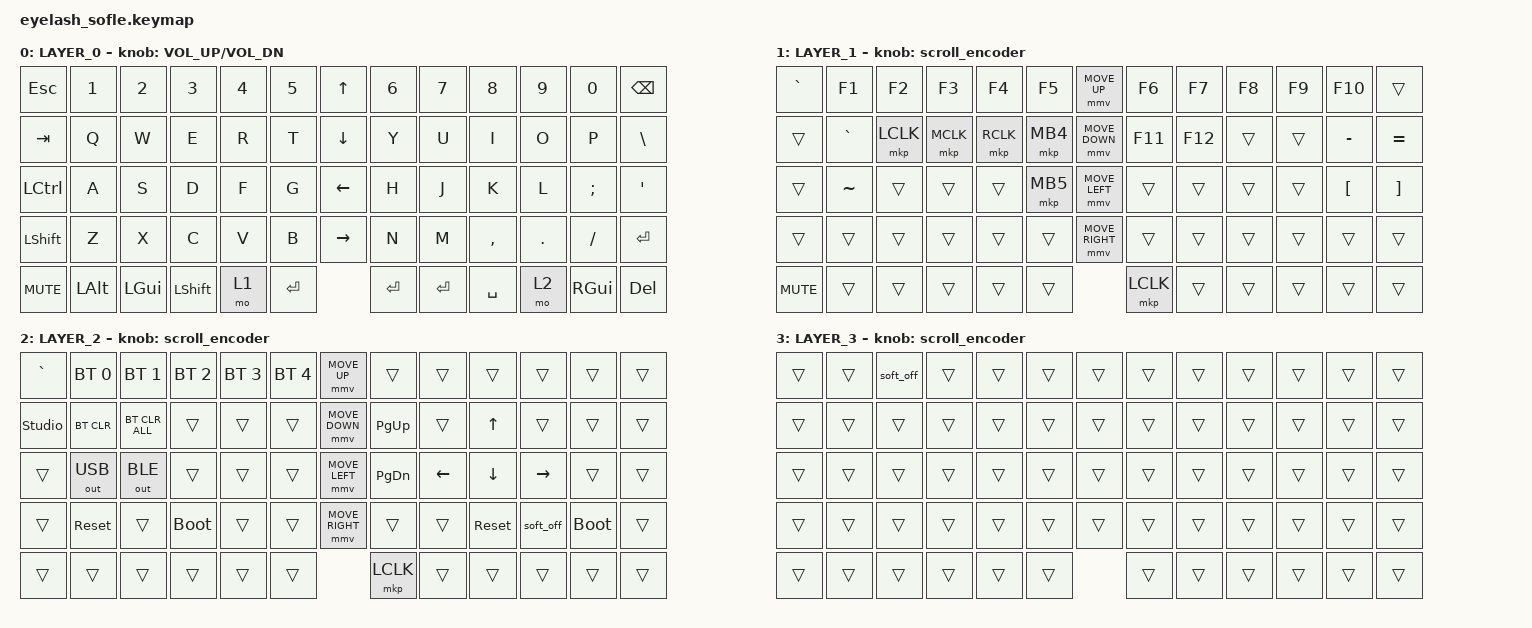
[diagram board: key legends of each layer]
#define ZMK_POINTING_DEFAULT_MOVE_VAL 1200  // 600
#define ZMK_POINTING_DEFAULT_SCRL_VAL 35    // 10

#include <input/processors.dtsi>
#include <zephyr/dt-bindings/input/input-event-codes.h>
#include <behaviors.dtsi>
#include <dt-bindings/zmk/bt.h>
#include <dt-bindings/zmk/keys.h>
#include <dt-bindings/zmk/outputs.h>
#include <dt-bindings/zmk/pointing.h>
#include <dt-bindings/zmk/rgb.h>

/ {
    zip_scroll_scaler: zip_scroll_scaler {
        compatible = "zmk,input-processor-scaler";
        #input-processor-cells = <2>;
        type = <INPUT_EV_REL>;
        codes = <INPUT_REL_WHEEL INPUT_REL_HWHEEL>;
        track-remainders;
    };
};

&mmv_input_listener { input-processors = <&zip_xy_scaler 2 1>; };

&msc_input_listener { input-processors = <&zip_scroll_scaler 2 1>; };

&msc {
    acceleration-exponent = <0>;      // 0
    time-to-max-speed-ms = <0>;       // 300
    delay-ms = <0>;                   // 0
};

&mmv {
    time-to-max-speed-ms = <400>;
    acceleration-exponent = <1>;
};

/ {
    scroll_encoder: scroll_encoder {
        compatible = "zmk,behavior-sensor-rotate";
        #sensor-binding-cells = <0>;
        bindings = <&msc SCRL_DOWN>, <&msc SCRL_UP>;

        tap-ms = <100>;
    };

    macros {
        shift_MB3: shift_MB3 {
            compatible = "zmk,behavior-macro";
            #binding-cells = <0>;
            bindings =
                <&macro_press>,
                <&kp LEFT_SHIFT>,
                <&macro_press>,
                <&mkp MB3>,
                <&macro_pause_for_release>,
                <&macro_release>,
                <&mkp MB3 &kp LEFT_SHIFT>;

            label = "SHIFT_MB3";
        };
    };

    behaviors {
    };

    keymap {
        compatible = "zmk,keymap";

        layer0 {
            bindings = <
&kp ESC     &kp N1     &kp N2        &kp N3        &kp N4  &kp N5       &kp UP_ARROW     &kp N6     &kp N7     &kp N8     &kp N9           &kp N0      &kp BACKSPACE
&kp TAB     &kp Q      &kp W         &kp E         &kp R   &kp T        &kp DOWN_ARROW   &kp Y      &kp U      &kp I      &kp O            &kp P       &kp BSLH
&kp LCTRL    &kp A      &kp S         &kp D         &kp F   &kp G        &kp LEFT_ARROW   &kp H      &kp J      &kp K      &kp L            &kp SEMI    &kp APOS
&kp LSHFT   &kp Z      &kp X         &kp C         &kp V   &kp B        &kp RIGHT_ARROW  &kp N      &kp M      &kp COMMA  &kp DOT          &kp FSLH    &kp ENTER
&kp C_MUTE  &kp LEFT_ALT  &kp LEFT_GUI  &kp LEFT_SHIFT  &mo 1   &kp ENTER    &kp ENTER        &kp ENTER  &kp SPACE  &mo 2      &kp RIGHT_GUI  &kp DELETE
            >;

            sensor-bindings = <&inc_dec_kp C_VOLUME_UP C_VOL_DN>;
            display-name = "LAYER_0";
        };


        layer_1 {
            bindings = <
&kp GRAVE   &kp F1           &kp F2          &kp F3           &kp F4           &kp F5             &mmv MOVE_UP     &kp F6           &kp F7           &kp F8      &kp F9     &kp F10           &trans
&trans      &kp GRAVE        &mkp LCLK       &mkp MCLK        &mkp RCLK        &mkp MB4           &mmv MOVE_DOWN   &kp F11        &kp F12          &trans      &trans   &kp MINUS         &kp EQUAL
&trans      &kp TILDE        &trans          &trans           &trans           &mkp MB5           &mmv MOVE_LEFT   &trans        &trans         &trans    &trans  &kp LEFT_BRACKET  &kp RIGHT_BRACKET
&trans      &trans  &trans  &trans  &trans  &trans    &mmv MOVE_RIGHT  &trans  &trans  &trans  &trans    &trans           &trans
&kp C_MUTE  &trans           &trans          &trans           &trans           &trans             &mkp LCLK        &trans           &trans           &trans      &trans     &trans
            >;

            display-name = "LAYER_1";
            sensor-bindings = <&scroll_encoder>;
        };

        layer_2 {
            bindings = <
&kp GRAVE  &bt BT_SEL 0  &bt BT_SEL 1    &bt BT_SEL 2  &bt BT_SEL 3  &bt BT_SEL 4    &mmv MOVE_UP     &trans  &trans  &trans     &trans     &trans      &trans
&studio_unlock      &bt BT_CLR    &bt BT_CLR_ALL  &trans        &trans        &trans          &mmv MOVE_DOWN   &kp PAGE_UP  &trans  &kp UP_ARROW     &trans    &trans    &trans
&trans     &out OUT_USB  &out OUT_BLE    &trans        &trans        &trans          &mmv MOVE_LEFT   &kp PAGE_DOWN  &kp LEFT_ARROW  &kp DOWN_ARROW      &kp RIGHT_ARROW     &trans     &trans
&trans     &sys_reset    &trans          &bootloader   &trans        &trans          &mmv MOVE_RIGHT  &trans  &trans  &sys_reset  &soft_off  &bootloader  &trans
&trans     &trans        &trans          &trans        &trans        &trans          &mkp LCLK        &trans  &trans  &trans      &trans     &trans
            >;

            display-name = "LAYER_2";
            sensor-bindings = <&scroll_encoder>;
        };

        layer_3 {
            bindings = <
	&trans  &trans  &soft_off  &trans  &trans  &trans    &trans  &trans  &trans  &trans  &trans  &trans  &trans
&trans  &trans  &trans  &trans  &trans  &trans    &trans  &trans  &trans  &trans  &trans  &trans  &trans
&trans  &trans  &trans  &trans  &trans  &trans    &trans  &trans  &trans  &trans  &trans  &trans  &trans
&trans  &trans  &trans  &trans  &trans  &trans    &trans  &trans  &trans  &trans  &trans  &trans  &trans
&trans  &trans  &trans  &trans  &trans  &trans    &trans  &trans  &trans  &trans  &trans  &trans
            >;

            display-name = "LAYER_3";
            sensor-bindings = <&scroll_encoder>;
        };
    };
};
